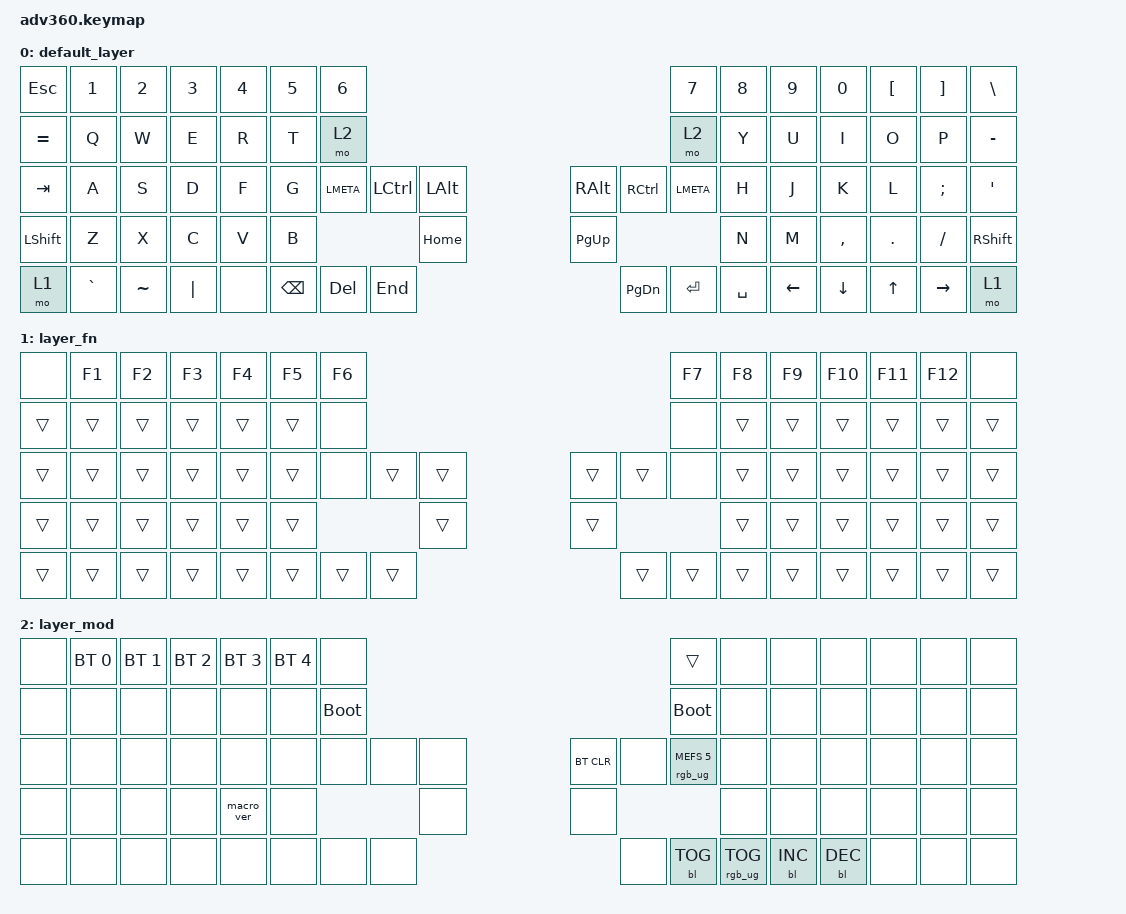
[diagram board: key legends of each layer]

/*
 * Copyright (c) 2020 The ZMK Contributors
 *
 * SPDX-License-Identifier: MIT
 */


/* THIS FILE WAS GENERATED!
 *
 * This file was generated automatically. You may or may not want to
 * edit it directly.
 */

#include <behaviors.dtsi>
#include <dt-bindings/zmk/keys.h>
#include <dt-bindings/zmk/bt.h>
#include <dt-bindings/zmk/rgb.h>
#include <dt-bindings/zmk/backlight.h>

/ {
  behaviors {
    #include "macros.dtsi"
    #include "version.dtsi"

    hm: homerow_mods {
        compatible = "zmk,behavior-hold-tap";
        label = "HOMEROW_MODS";
        #binding-cells = <2>;
        tapping-term-ms = <200>;
        quick_tap_ms = <175>;
        flavor = "tap-preferred";
        bindings = <&kp>, <&kp>;
    };
  };

    keymap {
        compatible = "zmk,keymap";


        default_layer {
            bindings = <
   &kp ESC     &kp N1     &kp N2    &kp N3  &kp N4  &kp N5               &kp N6                                                                &kp N7  &kp N8          &kp N9          &kp N0      &kp LBKT         &kp RBKT  &kp BACKSLASH
 &kp EQUAL      &kp Q      &kp W     &kp E   &kp R   &kp T                &mo 2                                                                 &mo 2   &kp Y           &kp U           &kp I         &kp O            &kp P      &kp MINUS
   &kp TAB      &kp A      &kp S     &kp D   &kp F   &kp G            &kp LMETA  &kp LCTRL  &kp LALT                   &kp RALT  &kp RCTRL  &kp LMETA   &kp H           &kp J           &kp K         &kp L         &kp SEMI        &kp SQT
 &kp LSHFT      &kp Z      &kp X     &kp C   &kp V   &kp B                                  &kp HOME                  &kp PG_UP                         &kp N           &kp M       &kp COMMA       &kp DOT         &kp FSLH      &kp RSHFT
     &mo 1  &kp GRAVE  &kp TILDE  &kp PIPE   &none                     &kp BSPC    &kp DEL   &kp END                  &kp PG_DN  &kp ENTER  &kp SPACE          &kp LEFT_ARROW  &kp DOWN_ARROW  &kp UP_ARROW  &kp RIGHT_ARROW          &mo 1
            >;
        };

        layer_fn {
            bindings = <
  &none  &kp F1  &kp F2  &kp F3  &kp F4  &kp F5            &kp F6                                                  &kp F7  &kp F8  &kp F9  &kp F10  &kp F11  &kp F12   &none
 &trans  &trans  &trans  &trans  &trans  &trans             &none                                                   &none  &trans  &trans   &trans   &trans   &trans  &trans
 &trans  &trans  &trans  &trans  &trans  &trans             &none  &trans  &trans                  &trans  &trans   &none  &trans  &trans   &trans   &trans   &trans  &trans
 &trans  &trans  &trans  &trans  &trans  &trans                            &trans                  &trans                  &trans  &trans   &trans   &trans   &trans  &trans
 &trans  &trans  &trans  &trans  &trans                    &trans  &trans  &trans                  &trans  &trans  &trans          &trans   &trans   &trans   &trans  &trans
            >;
        };

        layer_mod {
            bindings = <
  &none  &bt BT_SEL 0  &bt BT_SEL 1  &bt BT_SEL 2  &bt BT_SEL 3  &bt BT_SEL 4                  &none                                                                          &trans   &none       &none       &none   &none   &none   &none
  &none         &none         &none         &none         &none         &none            &bootloader                                                                     &bootloader   &none       &none       &none   &none   &none   &none
  &none         &none         &none         &none         &none         &none                  &none   &none   &none                  &bt BT_CLR       &none  &rgb_ug RGB_MEFS_CMD 5   &none       &none       &none   &none   &none   &none
  &none         &none         &none         &none    &macro_ver         &none                                  &none                       &none                                       &none       &none       &none   &none   &none   &none
  &none         &none         &none         &none         &none                                &none   &none   &none                       &none  &bl BL_TOG         &rgb_ug RGB_TOG          &bl BL_INC  &bl BL_DEC   &none   &none   &none
            >;
        };

    };
};
